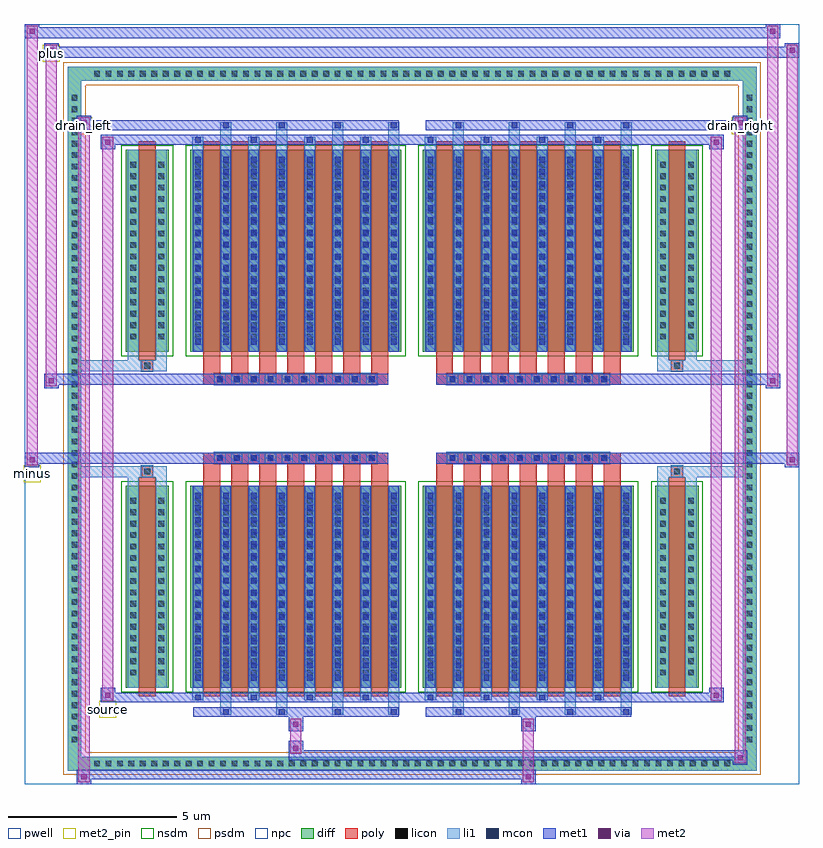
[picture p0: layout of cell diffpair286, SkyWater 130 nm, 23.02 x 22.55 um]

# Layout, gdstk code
import gdstk
lib = gdstk.Library(unit=1e-6, precision=5e-09)
def R(c, l, rs):  # rectangles x0, y0, x1, y1
    for r in rs: c.add(gdstk.rectangle(r[:2], r[2:], *l))
def A(c, l, x, y, w, h, nx, ny, dx, dy):  # array of equal rectangles
    R(c, l, [(x+i*dx, y+j*dy, x+i*dx+w, y+j*dy+h) for i in range(nx) for j in range(ny)])
def P(c, l, *ps):  # polygons
    for p in ps: c.add(gdstk.Polygon(p, *l))
pwell = (64, 44)
diff = (65, 20)
poly = (66, 20)
licon = (66, 44)
li1 = (67, 20)
mcon = (67, 44)
met1 = (68, 20)
via = (68, 44)
met2_pin = (69, 16)
met2 = (69, 20)
nsdm = (93, 44)
psdm = (94, 20)
npc = (95, 20)

diffpair286 = lib.new_cell('diffpair286')
R(diffpair286, pwell, [(-11.49,-10.84,11.49,11.71), (-8.81,-9.03,-0.01,-0.805), (0.01,-9.03,8.81,-0.805), (-8.81,0.805,-0.01,9.03), (0.01,0.805,8.81,9.03)])
A(diffpair286, diff, -9.555, -10.44, 0.41, 0.41, 56, 2, 0.34, 20.47)
A(diffpair286, diff, -10.22, -9.725, 0.41, 0.41, 1, 57, 0, 0.34)
A(diffpair286, diff, 9.81, -9.725, 0.41, 0.41, 1, 57, 0, 0.34)
R(diffpair286, diff, [(-9.555,-10.44,9.555,-10.03), (-10.22,-9.725,-9.81,9.725), (9.81,-9.725,10.22,9.725), (-8.5,-7.985,-7.22,-1.985), (-6.58,-7.985,-0.32,-1.985), (0.32,-7.985,6.58,-1.985), (7.22,-7.985,8.5,-1.985), (-8.5,1.985,-7.22,7.985), (-6.58,1.985,-0.32,7.985), (0.32,1.985,6.58,7.985), (7.22,1.985,8.5,7.985), (-9.555,10.03,9.555,10.44)])
P(diffpair286, diff, [(10.22,10.44),(-10.22,10.44),(-10.22,-10.03),(-9.81,-10.03),(-9.81,10.03),(9.81,10.03),(9.81,-10.03),(-9.81,-10.03),(-10.22,-10.03),(-10.22,-10.44),(10.22,-10.44)])
A(diffpair286, poly, -6.19, -8.235, 0.5, 6.5, 7, 2, 0.83, 9.97)
A(diffpair286, poly, 0.71, -8.235, 0.5, 6.5, 7, 2, 0.83, 9.97)
A(diffpair286, poly, -6.19, -1.735, 0.5, 0.4, 7, 2, 0.83, 3.07)
A(diffpair286, poly, 0.71, -1.735, 0.5, 0.4, 7, 2, 0.83, 3.07)
A(diffpair286, poly, -5.865, -1.335, 0.33, 0.33, 10, 2, 0.5, 2.34)
A(diffpair286, poly, 1.035, -1.335, 0.33, 0.33, 10, 2, 0.5, 2.34)
R(diffpair286, poly, [(-8.11,-8.235,-7.61,-1.735), (7.61,-8.235,8.11,-1.735), (-8.025,-1.735,-7.695,-1.405), (-8.025,-1.735,-7.695,-1.405), (7.695,-1.735,8.025,-1.405), (7.695,-1.735,8.025,-1.405), (-6.19,-1.335,-0.71,-1.005), (0.71,-1.335,6.19,-1.005), (-6.19,1.005,-0.71,1.335), (0.71,1.005,6.19,1.335), (-8.025,1.405,-7.695,1.735), (-8.025,1.405,-7.695,1.735), (7.695,1.405,8.025,1.735), (7.695,1.405,8.025,1.735), (-8.11,1.735,-7.61,8.235), (7.61,1.735,8.11,8.235)])
A(diffpair286, licon, -9.435, -10.32, 0.17, 0.17, 56, 2, 0.34, 20.47)
A(diffpair286, licon, -10.1, -9.605, 0.17, 0.17, 1, 57, 0, 0.34)
A(diffpair286, licon, 9.93, -9.605, 0.17, 0.17, 1, 57, 0, 0.34)
A(diffpair286, licon, -8.36, -7.62, 0.17, 0.17, 1, 16, 0, 0.34)
A(diffpair286, licon, -7.53, -7.62, 0.17, 0.17, 1, 16, 0, 0.34)
A(diffpair286, licon, -6.44, -7.62, 0.17, 0.17, 8, 16, 0.83, 0.34)
A(diffpair286, licon, 0.46, -7.62, 0.17, 0.17, 8, 16, 0.83, 0.34)
A(diffpair286, licon, 7.36, -7.62, 0.17, 0.17, 1, 16, 0, 0.34)
A(diffpair286, licon, 8.19, -7.62, 0.17, 0.17, 1, 16, 0, 0.34)
A(diffpair286, licon, -5.785, -1.255, 0.17, 0.17, 10, 2, 0.5, 2.34)
A(diffpair286, licon, 1.115, -1.255, 0.17, 0.17, 10, 2, 0.5, 2.34)
A(diffpair286, licon, -8.36, 2.35, 0.17, 0.17, 1, 16, 0, 0.34)
A(diffpair286, licon, -7.53, 2.35, 0.17, 0.17, 1, 16, 0, 0.34)
A(diffpair286, licon, -6.44, 2.35, 0.17, 0.17, 8, 16, 0.83, 0.34)
A(diffpair286, licon, 0.46, 2.35, 0.17, 0.17, 8, 16, 0.83, 0.34)
A(diffpair286, licon, 7.36, 2.35, 0.17, 0.17, 1, 16, 0, 0.34)
A(diffpair286, licon, 8.19, 2.35, 0.17, 0.17, 1, 16, 0, 0.34)
R(diffpair286, licon, [(-7.945,-1.655,-7.775,-1.485), (7.775,-1.655,7.945,-1.485), (-7.945,1.485,-7.775,1.655), (7.775,1.485,7.945,1.655)])
A(diffpair286, li1, -9.515, -10.4, 0.33, 0.33, 56, 2, 0.34, 20.47)
A(diffpair286, li1, -10.18, -9.685, 0.33, 0.33, 1, 57, 0, 0.34)
A(diffpair286, li1, 9.85, -9.685, 0.33, 0.33, 1, 57, 0, 0.34)
A(diffpair286, li1, -5.69, -8.79, 0.33, 0.805, 4, 2, 1.66, 16.775)
A(diffpair286, li1, -5.61, -8.79, 0.17, 0.17, 4, 2, 1.66, 17.41)
A(diffpair286, li1, 1.21, -8.79, 0.33, 0.805, 4, 2, 1.66, 16.775)
A(diffpair286, li1, 1.29, -8.79, 0.17, 0.17, 4, 2, 1.66, 17.41)
A(diffpair286, li1, -6.52, -8.36, 0.33, 0.375, 4, 2, 1.66, 16.345)
A(diffpair286, li1, -6.44, -8.36, 0.17, 0.17, 4, 2, 1.66, 16.55)
A(diffpair286, li1, 0.38, -8.36, 0.33, 0.375, 4, 2, 1.66, 16.345)
A(diffpair286, li1, 0.46, -8.36, 0.17, 0.17, 4, 2, 1.66, 16.55)
A(diffpair286, li1, -6.52, -7.985, 0.33, 6, 8, 2, 0.83, 9.97)
A(diffpair286, li1, 0.38, -7.985, 0.33, 6, 8, 2, 0.83, 9.97)
A(diffpair286, li1, -6.44, -7.77, 0.17, 0.17, 8, 16, 0.83, 0.36)
A(diffpair286, li1, -6.44, -7.77, 0.17, 5.57, 8, 2, 0.83, 9.97)
A(diffpair286, li1, 0.46, -7.77, 0.17, 0.17, 8, 16, 0.83, 0.36)
A(diffpair286, li1, 0.46, -7.77, 0.17, 5.57, 8, 2, 0.83, 9.97)
A(diffpair286, li1, -8.44, -7.7, 0.33, 0.33, 1, 16, 0, 0.34)
A(diffpair286, li1, -7.61, -7.7, 0.33, 0.33, 1, 16, 0, 0.34)
A(diffpair286, li1, -6.52, -7.7, 0.33, 0.33, 8, 16, 0.83, 0.34)
A(diffpair286, li1, 0.38, -7.7, 0.33, 0.33, 8, 16, 0.83, 0.34)
A(diffpair286, li1, 7.28, -7.7, 0.33, 0.33, 1, 16, 0, 0.34)
A(diffpair286, li1, 8.11, -7.7, 0.33, 0.33, 1, 16, 0, 0.34)
A(diffpair286, li1, -5.865, -1.335, 0.33, 0.33, 10, 2, 0.5, 2.34)
A(diffpair286, li1, 1.035, -1.335, 0.33, 0.33, 10, 2, 0.5, 2.34)
A(diffpair286, li1, -6.44, 2.2, 0.17, 0.17, 8, 16, 0.83, 0.36)
A(diffpair286, li1, 0.46, 2.2, 0.17, 0.17, 8, 16, 0.83, 0.36)
A(diffpair286, li1, -8.44, 2.27, 0.33, 0.33, 1, 16, 0, 0.34)
A(diffpair286, li1, -7.61, 2.27, 0.33, 0.33, 1, 16, 0, 0.34)
A(diffpair286, li1, -6.52, 2.27, 0.33, 0.33, 8, 16, 0.83, 0.34)
A(diffpair286, li1, 0.38, 2.27, 0.33, 0.33, 8, 16, 0.83, 0.34)
A(diffpair286, li1, 7.28, 2.27, 0.33, 0.33, 1, 16, 0, 0.34)
A(diffpair286, li1, 8.11, 2.27, 0.33, 0.33, 1, 16, 0, 0.34)
R(diffpair286, li1, [(-10.22,-10.44,-9.81,-10.03), (-10.22,-10.44,-9.81,-10.03), (-9.81,-10.44,9.81,-10.03), (9.81,-10.44,10.22,-10.03), (9.81,-10.44,10.22,-10.03), (-10.22,-10.03,-9.81,10.03), (9.81,-10.03,10.22,10.03), (-8.44,-7.985,-8.11,-1.985), (-7.61,-7.985,-7.28,-1.985), (7.28,-7.985,7.61,-1.985), (8.11,-7.985,8.44,-1.985), (-8.44,-1.985,-8.11,-1.405), (-7.61,-1.985,-7.28,-1.405), (7.28,-1.985,7.61,-1.405), (8.11,-1.985,8.44,-1.405), (-10.22,-1.735,-8.025,-1.405), (-8.44,-1.735,-8.025,-1.405), (-8.025,-1.735,-7.695,-1.405), (-7.695,-1.735,-7.28,-1.405), (7.28,-1.735,7.695,-1.405), (7.695,-1.735,8.025,-1.405), (7.695,-1.735,10.22,-1.405), (8.025,-1.735,8.44,-1.405), (-10.22,1.405,-8.025,1.735), (-8.44,1.405,-8.025,1.735), (-8.44,1.405,-8.11,1.985), (-8.025,1.405,-7.695,1.735), (-7.695,1.405,-7.28,1.735), (-7.61,1.405,-7.28,1.985), (7.28,1.405,7.695,1.735), (7.28,1.405,7.61,1.985), (7.695,1.405,8.025,1.735), (7.695,1.405,10.22,1.735), (8.025,1.405,8.44,1.735), (8.11,1.405,8.44,1.985), (-8.44,1.985,-8.11,7.985), (-7.61,1.985,-7.28,7.985), (7.28,1.985,7.61,7.985), (8.11,1.985,8.44,7.985), (-10.22,10.03,-9.81,10.44), (-10.22,10.03,-9.81,10.44), (-9.81,10.03,9.81,10.44), (9.81,10.03,10.22,10.44), (9.81,10.03,10.22,10.44)])
A(diffpair286, mcon, -5.61, -8.79, 0.17, 0.17, 4, 2, 1.66, 17.41)
A(diffpair286, mcon, 1.29, -8.79, 0.17, 0.17, 4, 2, 1.66, 17.41)
A(diffpair286, mcon, -6.44, -8.36, 0.17, 0.17, 4, 2, 1.66, 16.55)
A(diffpair286, mcon, 0.46, -8.36, 0.17, 0.17, 4, 2, 1.66, 16.55)
A(diffpair286, mcon, -6.44, -7.77, 0.17, 0.17, 8, 16, 0.83, 0.36)
A(diffpair286, mcon, 0.46, -7.77, 0.17, 0.17, 8, 16, 0.83, 0.36)
A(diffpair286, mcon, -5.785, -1.255, 0.17, 0.17, 10, 2, 0.5, 2.34)
A(diffpair286, mcon, 1.115, -1.255, 0.17, 0.17, 10, 2, 0.5, 2.34)
A(diffpair286, mcon, -6.44, 2.2, 0.17, 0.17, 8, 16, 0.83, 0.36)
A(diffpair286, mcon, 0.46, 2.2, 0.17, 0.17, 8, 16, 0.83, 0.36)
A(diffpair286, met1, -5.67, -8.85, 0.29, 0.29, 4, 2, 1.66, 17.41)
A(diffpair286, met1, 1.23, -8.85, 0.29, 0.29, 4, 2, 1.66, 17.41)
A(diffpair286, met1, -6.5, -8.42, 0.29, 0.29, 4, 2, 1.66, 16.55)
A(diffpair286, met1, 0.4, -8.42, 0.29, 0.29, 4, 2, 1.66, 16.55)
A(diffpair286, met1, -6.5, -7.985, 0.29, 6, 8, 2, 0.83, 9.97)
A(diffpair286, met1, 0.4, -7.985, 0.29, 6, 8, 2, 0.83, 9.97)
A(diffpair286, met1, -6.5, -7.83, 0.29, 0.29, 8, 16, 0.83, 0.36)
A(diffpair286, met1, 0.4, -7.83, 0.29, 0.29, 8, 16, 0.83, 0.36)
A(diffpair286, met1, -5.845, -1.315, 0.29, 0.29, 10, 2, 0.5, 2.34)
A(diffpair286, met1, 1.055, -1.315, 0.29, 0.29, 10, 2, 0.5, 2.34)
A(diffpair286, met1, -6.5, 2.14, 0.29, 0.29, 8, 16, 0.83, 0.36)
A(diffpair286, met1, 0.4, 2.14, 0.29, 0.29, 8, 16, 0.83, 0.36)
R(diffpair286, met1, [(-9.95,-10.84,-9.52,-10.41), (3.235,-10.84,3.665,-10.41), (-9.95,-10.7,3.665,-10.41), (9.52,-10.27,9.95,-9.84), (-3.665,-10.13,9.95,-9.84), (-3.665,-9.99,-3.235,-9.56), (-3.665,-9.28,-3.235,-8.85), (3.235,-9.28,3.665,-8.85), (-6.5,-8.85,-0.4,-8.56), (0.4,-8.85,6.5,-8.56), (-9.24,-8.42,-8.81,-7.99), (-9.24,-8.42,-6.5,-8.13), (-6.5,-8.42,-0.4,-8.13), (-0.4,-8.42,0.4,-8.13), (0.4,-8.42,6.5,-8.13), (6.5,-8.42,9.24,-8.13), (8.81,-8.42,9.24,-7.99), (-11.49,-1.435,-11.06,-1.005), (11.06,-1.435,11.49,-1.005), (-11.49,-1.335,-0.71,-1.005), (-6.19,-1.335,-0.71,-1.005), (0.71,-1.335,6.19,-1.005), (0.71,-1.335,11.49,-1.005), (-10.92,0.905,-10.49,1.335), (10.49,0.905,10.92,1.335), (-10.92,1.005,-6.19,1.335), (-6.19,1.005,-0.71,1.335), (0.71,1.005,6.19,1.335), (6.19,1.005,10.92,1.335), (-9.24,7.99,-8.81,8.42), (8.81,7.99,9.24,8.42), (-9.24,8.13,-6.5,8.42), (-6.5,8.13,-0.4,8.42), (-0.4,8.13,0.4,8.42), (0.4,8.13,6.5,8.42), (6.5,8.13,9.24,8.42), (-9.95,8.56,-9.52,8.99), (-9.95,8.56,-6.5,8.85), (-6.5,8.56,-0.4,8.85), (0.4,8.56,6.5,8.85), (6.5,8.56,9.95,8.85), (9.52,8.56,9.95,8.99), (-10.92,10.71,-10.49,11.14), (-10.92,10.71,-8.81,11.04), (-8.81,10.71,8.81,11.04), (8.81,10.71,11.49,11.04), (11.06,10.71,11.49,11.14), (-11.49,11.28,-11.06,11.71), (-11.49,11.28,-8.81,11.61), (-8.81,11.28,8.81,11.61), (8.81,11.28,10.92,11.61), (10.49,11.28,10.92,11.71)])
R(diffpair286, via, [(-9.81,-10.7,-9.66,-10.55), (3.375,-10.7,3.525,-10.55), (9.66,-10.13,9.81,-9.98), (-3.525,-9.85,-3.375,-9.7), (-3.525,-9.14,-3.375,-8.99), (3.375,-9.14,3.525,-8.99), (-9.1,-8.28,-8.95,-8.13), (8.95,-8.28,9.1,-8.13), (-11.35,-1.295,-11.2,-1.145), (11.2,-1.295,11.35,-1.145), (-10.78,1.045,-10.63,1.195), (10.63,1.045,10.78,1.195), (-9.1,8.13,-8.95,8.28), (8.95,8.13,9.1,8.28), (-9.81,8.7,-9.66,8.85), (9.66,8.7,9.81,8.85), (-10.78,10.85,-10.63,11), (11.2,10.85,11.35,11), (-11.35,11.42,-11.2,11.57), (10.63,11.42,10.78,11.57)])
R(diffpair286, met2_pin, [(-9.275,-8.87,-8.775,-8.37), (-11.525,-1.885,-11.025,-1.385), (-9.985,8.44,-9.485,8.94), (9.485,8.44,9.985,8.94), (-10.955,10.59,-10.455,11.09)])
R(diffpair286, met2, [(-9.9,-10.79,-9.57,-10.46), (-9.9,-10.79,-9.57,8.94), (3.285,-10.79,3.615,-10.46), (3.285,-10.46,3.615,-9.23), (9.57,-10.22,9.9,-9.89), (9.57,-10.22,9.9,8.94), (-3.615,-9.94,-3.285,-9.61), (-3.615,-9.61,-3.285,-9.23), (-3.615,-9.23,-3.285,-8.9), (3.285,-9.23,3.615,-8.9), (-9.19,-8.37,-8.86,-8.04), (-9.19,-8.37,-8.86,8.37), (8.86,-8.37,9.19,-8.04), (8.86,-8.37,9.19,8.37), (-11.44,-1.385,-11.11,-1.055), (-11.44,-1.385,-11.11,11.66), (11.11,-1.385,11.44,-1.055), (11.11,-1.385,11.44,11.09), (-10.87,0.955,-10.54,1.285), (-10.87,0.955,-10.54,11.09), (10.54,0.955,10.87,1.285), (10.54,0.955,10.87,11.66), (-9.19,8.04,-8.86,8.37), (8.86,8.04,9.19,8.37), (-9.9,8.61,-9.57,8.94), (9.57,8.61,9.9,8.94), (-10.87,10.76,-10.54,11.09), (11.11,10.76,11.44,11.09), (-11.44,11.33,-11.11,11.66), (10.54,11.33,10.87,11.66)])
P(diffpair286, met2, [(11.44,-1.385),(11.44,-1.385),(11.44,-1.055),(11.44,-1.055)],
  [(11.44,10.76),(11.44,10.76),(11.44,11.09),(11.44,11.09)],
  [(-11.11,-1.385),(-11.11,-1.385),(-11.11,-1.055),(-11.11,-1.055)],
  [(-11.11,11.33),(-11.11,11.33),(-11.11,11.66),(-11.11,11.66)],
  [(10.87,0.955),(10.87,0.955),(10.87,1.285),(10.87,1.285)],
  [(10.87,11.33),(10.87,11.33),(10.87,11.66),(10.87,11.66)],
  [(-10.54,0.955),(-10.54,0.955),(-10.54,1.285),(-10.54,1.285)],
  [(-10.54,10.76),(-10.54,10.76),(-10.54,11.09),(-10.54,11.09)],
  [(-9.57,-10.79),(-9.57,-10.79),(-9.57,-10.46),(-9.57,-10.46)],
  [(-9.57,8.61),(-9.57,8.61),(-9.57,8.94),(-9.57,8.94)],
  [(9.9,-10.22),(9.9,-10.22),(9.9,-9.89),(9.9,-9.89)],
  [(9.9,8.61),(9.9,8.61),(9.9,8.94),(9.9,8.94)],
  [(-8.86,-8.37),(-8.86,-8.37),(-8.86,-8.04),(-8.86,-8.04)],
  [(-8.86,8.04),(-8.86,8.04),(-8.86,8.37),(-8.86,8.37)],
  [(9.19,-8.37),(9.19,-8.37),(9.19,-8.04),(9.19,-8.04)],
  [(9.19,8.04),(9.19,8.04),(9.19,8.37),(9.19,8.37)])
R(diffpair286, nsdm, [(-8.63,-8.115,-7.09,-1.855), (-6.71,-8.115,-0.19,-1.855), (0.19,-8.115,6.71,-1.855), (7.09,-8.115,8.63,-1.855), (-8.63,1.855,-7.09,8.115), (-6.71,1.855,-0.19,8.115), (0.19,1.855,6.71,8.115), (7.09,1.855,8.63,8.115)])
P(diffpair286, psdm, [(10.35,10.57),(-10.35,10.57),(-10.35,-9.9),(-9.68,-9.9),(-9.68,9.9),(9.68,9.9),(9.68,-9.9),(-9.68,-9.9),(-10.35,-9.9),(-10.35,-10.57),(10.35,-10.57)])
A(diffpair286, npc, -5.885, -1.355, 0.37, 0.37, 10, 2, 0.5, 2.34)
A(diffpair286, npc, 1.015, -1.355, 0.37, 0.37, 10, 2, 0.5, 2.34)
R(diffpair286, npc, [(-8.045,-1.755,-7.675,-1.385), (7.675,-1.755,8.045,-1.385), (-5.885,-1.355,-5.015,-0.985), (-5.885,-1.355,-5.015,-0.985), (-5.385,-1.355,-4.515,-0.985), (-5.385,-1.355,-4.515,-0.985), (-4.885,-1.355,-4.015,-0.985), (-4.885,-1.355,-4.015,-0.985), (-4.385,-1.355,-3.515,-0.985), (-4.385,-1.355,-3.515,-0.985), (-3.885,-1.355,-3.015,-0.985), (-3.885,-1.355,-3.015,-0.985), (-3.385,-1.355,-2.515,-0.985), (-3.385,-1.355,-2.515,-0.985), (-2.885,-1.355,-2.015,-0.985), (-2.885,-1.355,-2.015,-0.985), (-2.385,-1.355,-1.515,-0.985), (-2.385,-1.355,-1.515,-0.985), (-1.885,-1.355,-1.015,-0.985), (-1.885,-1.355,-1.015,-0.985), (1.015,-1.355,1.885,-0.985), (1.015,-1.355,1.885,-0.985), (1.515,-1.355,2.385,-0.985), (1.515,-1.355,2.385,-0.985), (2.015,-1.355,2.885,-0.985), (2.015,-1.355,2.885,-0.985), (2.515,-1.355,3.385,-0.985), (2.515,-1.355,3.385,-0.985), (3.015,-1.355,3.885,-0.985), (3.015,-1.355,3.885,-0.985), (3.515,-1.355,4.385,-0.985), (3.515,-1.355,4.385,-0.985), (4.015,-1.355,4.885,-0.985), (4.015,-1.355,4.885,-0.985), (4.515,-1.355,5.385,-0.985), (4.515,-1.355,5.385,-0.985), (5.015,-1.355,5.885,-0.985), (5.015,-1.355,5.885,-0.985), (-5.885,0.985,-5.015,1.355), (-5.885,0.985,-5.015,1.355), (-5.385,0.985,-4.515,1.355), (-5.385,0.985,-4.515,1.355), (-4.885,0.985,-4.015,1.355), (-4.885,0.985,-4.015,1.355), (-4.385,0.985,-3.515,1.355), (-4.385,0.985,-3.515,1.355), (-3.885,0.985,-3.015,1.355), (-3.885,0.985,-3.015,1.355), (-3.385,0.985,-2.515,1.355), (-3.385,0.985,-2.515,1.355), (-2.885,0.985,-2.015,1.355), (-2.885,0.985,-2.015,1.355), (-2.385,0.985,-1.515,1.355), (-2.385,0.985,-1.515,1.355), (-1.885,0.985,-1.015,1.355), (-1.885,0.985,-1.015,1.355), (1.015,0.985,1.885,1.355), (1.015,0.985,1.885,1.355), (1.515,0.985,2.385,1.355), (1.515,0.985,2.385,1.355), (2.015,0.985,2.885,1.355), (2.015,0.985,2.885,1.355), (2.515,0.985,3.385,1.355), (2.515,0.985,3.385,1.355), (3.015,0.985,3.885,1.355), (3.015,0.985,3.885,1.355), (3.515,0.985,4.385,1.355), (3.515,0.985,4.385,1.355), (4.015,0.985,4.885,1.355), (4.015,0.985,4.885,1.355), (4.515,0.985,5.385,1.355), (4.515,0.985,5.385,1.355), (5.015,0.985,5.885,1.355), (5.015,0.985,5.885,1.355), (-8.045,1.385,-7.675,1.755), (7.675,1.385,8.045,1.755)])
diffpair286.add(gdstk.Label('minus', (-11.275,-1.635), layer=69, texttype=5))
diffpair286.add(gdstk.Label('drain_right', (9.735,8.69), layer=69, texttype=5))
diffpair286.add(gdstk.Label('drain_left', (-9.735,8.69), layer=69, texttype=5))
diffpair286.add(gdstk.Label('source', (-9.025,-8.62), layer=69, texttype=5))
diffpair286.add(gdstk.Label('plus', (-10.705,10.84), layer=69, texttype=5))

lib.write_gds('diffpair286.gds')
